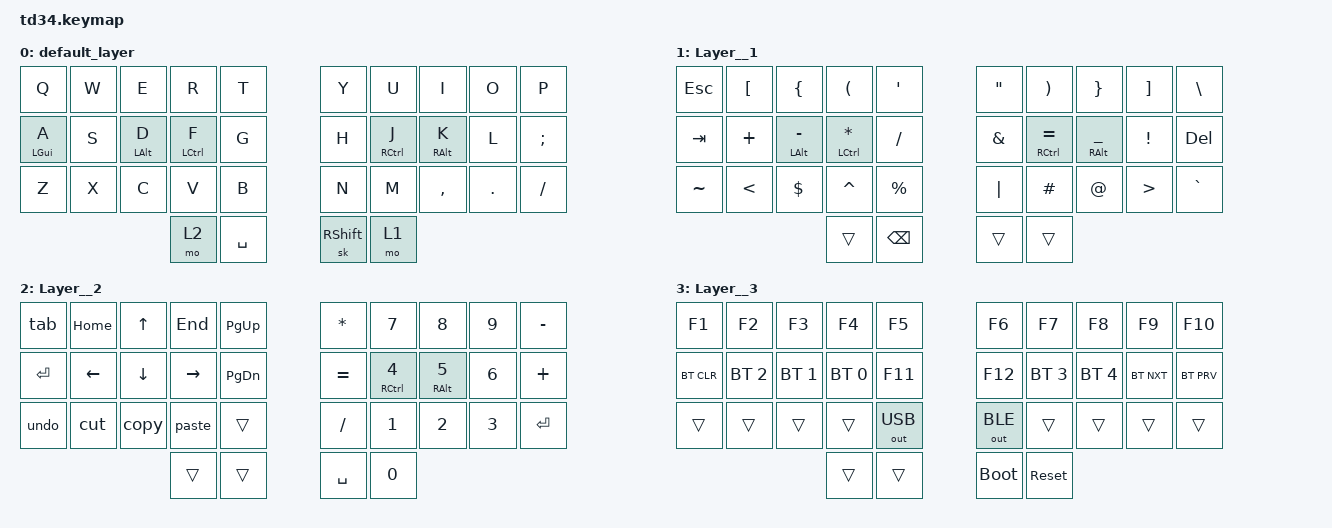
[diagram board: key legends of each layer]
#include <behaviors.dtsi>
#include <dt-bindings/zmk/bt.h>
#include <dt-bindings/zmk/keys.h>
#include <dt-bindings/zmk/outputs.h>

&mt {
    tapping-term-ms = <400>;
    flavor = "tap-preferred";
    quick-tap-ms = <200>;
    global-quick-tap;
};

/ {
    combos {
        compatible = "zmk,combos";

        Fkey_combo {
            bindings = <&mo 3>;
            key-positions = <30 31>;
        };

        enter_combo {
            bindings = <&kp ENTER>;
            key-positions = <13 16>;
        };

        tab_combo {
            bindings = <&kp TAB>;
            key-positions = <14 15>;
        };

        prtsc_combo {
            bindings = <&kp PRINTSCREEN>;
            key-positions = <5 4>;
        };

        del_combo {
            bindings = <&kp DELETE>;
            key-positions = <24 25>;
        };
    };

    macros {
        copy: copy {
            compatible = "zmk,behavior-macro";
            label = "copy_macro";
            #binding-cells = <0>;
            bindings =
                <&macro_press>,
                <&kp RCTRL>,
                <&macro_tap>,
                <&kp C>,
                <&macro_release>,
                <&kp RCTRL>;
        };
        paste: paste {
            compatible = "zmk,behavior-macro";
            label = "paste_macro";
            #binding-cells = <0>;
            bindings =
                <&macro_press>,
                <&kp RCTRL>,
                <&macro_tap>,
                <&kp V>,
                <&macro_release>,
                <&kp RCTRL>;
        };
        cut: cut {
            compatible = "zmk,behavior-macro";
            label = "cut_macro";
            #binding-cells = <0>;
            bindings =
                <&macro_press>,
                <&kp RCTRL>,
                <&macro_tap>,
                <&kp X>,
                <&macro_release>,
                <&kp RCTRL>;
        };
        undo: undo {
            compatible = "zmk,behavior-macro";
            label = "undo_macro";
            #binding-cells = <0>;
            bindings =
                <&macro_press>,
                <&kp RCTRL>,
                <&macro_tap>,
                <&kp Z>,
                <&macro_release>,
                <&kp RCTRL>;
        };
        tab: tab {
            compatible = "zmk,behavior-macro";
            label = "tab_macro";
            #binding-cells = <0>;
            bindings =
                <&macro_press>,
                <&kp RIGHT_ALT>,
                <&macro_tap>,
                <&kp TAB>,
                <&macro_release>,
                <&kp RIGHT_ALT>;
        };
    };

    keymap {
        compatible = "zmk,keymap";

        default_layer {
            bindings = <
         &kp Q  &kp W           &kp E               &kp R      &kp T              &kp Y                &kp U            &kp I    &kp O          &kp P
&mt LEFT_GUI A  &kp S  &mt LEFT_ALT D  &mt LEFT_CONTROL F      &kp G              &kp H  &mt RIGHT_CONTROL J  &mt RIGHT_ALT K    &kp L  &kp SEMICOLON
         &kp Z  &kp X           &kp C               &kp V      &kp B              &kp N                &kp M        &kp COMMA  &kp DOT      &kp SLASH
                                                    &mo 2  &kp SPACE    &sk RIGHT_SHIFT                &mo 1
            >;
        };

        Layer__1 {
            bindings = <
  &kp ESC  &kp LEFT_BRACKET      &kp LEFT_BRACE   &kp LEFT_PARENTHESIS  &kp SINGLE_QUOTE    &kp DOUBLE_QUOTES  &kp RIGHT_PARENTHESIS      &kp RIGHT_BRACE  &kp RIGHT_BRACKET  &kp BACKSLASH
  &kp TAB          &kp PLUS  &mt LEFT_ALT MINUS  &mt LEFT_CONTROL STAR         &kp SLASH        &kp AMPERSAND        &mt RCTRL EQUAL  &mt RALT UNDERSCORE           &kp EXCL     &kp DELETE
&kp TILDE            &kp LT          &kp DOLLAR              &kp CARET       &kp PERCENT             &kp PIPE               &kp HASH          &kp AT_SIGN             &kp GT      &kp GRAVE
                                                                &trans     &kp BACKSPACE               &trans                 &trans
            >;
        };

        Layer__2 {
            bindings = <
     &tab  &kp HOME    &kp UP    &kp END    &kp PAGE_UP     &kp STAR  &kp NUMBER_7  &kp NUMBER_8  &kp NUMBER_9  &kp MINUS
&kp ENTER  &kp LEFT  &kp DOWN  &kp RIGHT  &kp PAGE_DOWN    &kp EQUAL  &mt RCTRL N4   &mt RALT N5  &kp NUMBER_6   &kp PLUS
    &undo      &cut     &copy     &paste         &trans    &kp SLASH  &kp NUMBER_1  &kp NUMBER_2  &kp NUMBER_3  &kp ENTER
                                  &trans         &trans    &kp SPACE  &kp NUMBER_0
            >;
        };

        Layer__3 {
            bindings = <
    &kp F1        &kp F2        &kp F3        &kp F4        &kp F5          &kp F6        &kp F7        &kp F8      &kp F9     &kp F10
&bt BT_CLR  &bt BT_SEL 2  &bt BT_SEL 1  &bt BT_SEL 0       &kp F11         &kp F12  &bt BT_SEL 3  &bt BT_SEL 4  &bt BT_NXT  &bt BT_PRV
    &trans        &trans        &trans        &trans  &out OUT_USB    &out OUT_BLE        &trans        &trans      &trans      &trans
                                              &trans        &trans     &bootloader    &sys_reset
            >;
        };
    };
};
